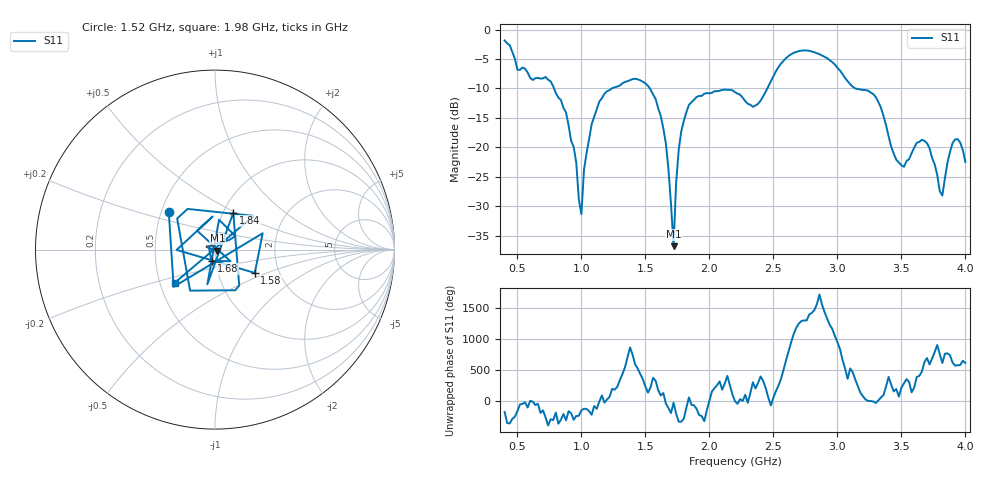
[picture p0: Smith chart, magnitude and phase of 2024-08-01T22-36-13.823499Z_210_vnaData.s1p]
!Created with skrf (http://scikit-rf.org).
# Hz S RI R 50.0
!freq ReS11 ImS11
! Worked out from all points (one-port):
!   181 points, 400 MHz to 4 GHz, reference 50 ohm
!   lowest |S11| = -36.8 dB at 1.72 GHz (marker M1), VSWR 1.03, Z = 51.4 - j0.559 ohm
!   |S11| at or under -10 dB: 786 MHz to 1.238 GHz (451.8 MHz wide, 44.6 % of centre); 1.534 GHz to 2.453 GHz (918.2 MHz wide, 46.1 % of centre); 3.139 GHz to end of sweep
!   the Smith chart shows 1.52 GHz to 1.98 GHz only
!   S11 on the Smith chart (normalised r, x): 1.52 GHz: 0.55, +0.26; 1.58 GHz: 1.50, -0.42; 1.68 GHz: 0.95, -0.12; 1.84 GHz: 1.12, +0.48; 1.98 GHz: 0.60, -0.24
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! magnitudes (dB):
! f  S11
! 400 MHz  -1.9
! 500 MHz  -6.8
! 720 MHz  -8.1
! 860 MHz  -13.3
! 940 MHz  -20.0
! 1 GHz  -31.4
! 1.02 GHz  -23.9
! 1.08 GHz  -16.1
! 1.3 GHz  -9.5
! 1.52 GHz  -9.6
! 1.58 GHz  -11.8
! 1.68 GHz  -23.7
! 1.72 GHz  -36.8
! 1.74 GHz  -26.1
! 1.76 GHz  -20.5
! 1.84 GHz  -12.8
! 1.98 GHz  -10.8
! 2.2 GHz  -10.6
! 2.38 GHz  -12.6
! 2.66 GHz  -3.9
! 3.1 GHz  -9.3
! 3.3 GHz  -11.5
! 3.46 GHz  -22.1
! 3.56 GHz  -22.0
! 3.7 GHz  -19.3
! 3.82 GHz  -28.2
! 3.9 GHz  -19.3
! 4 GHz  -22.5
